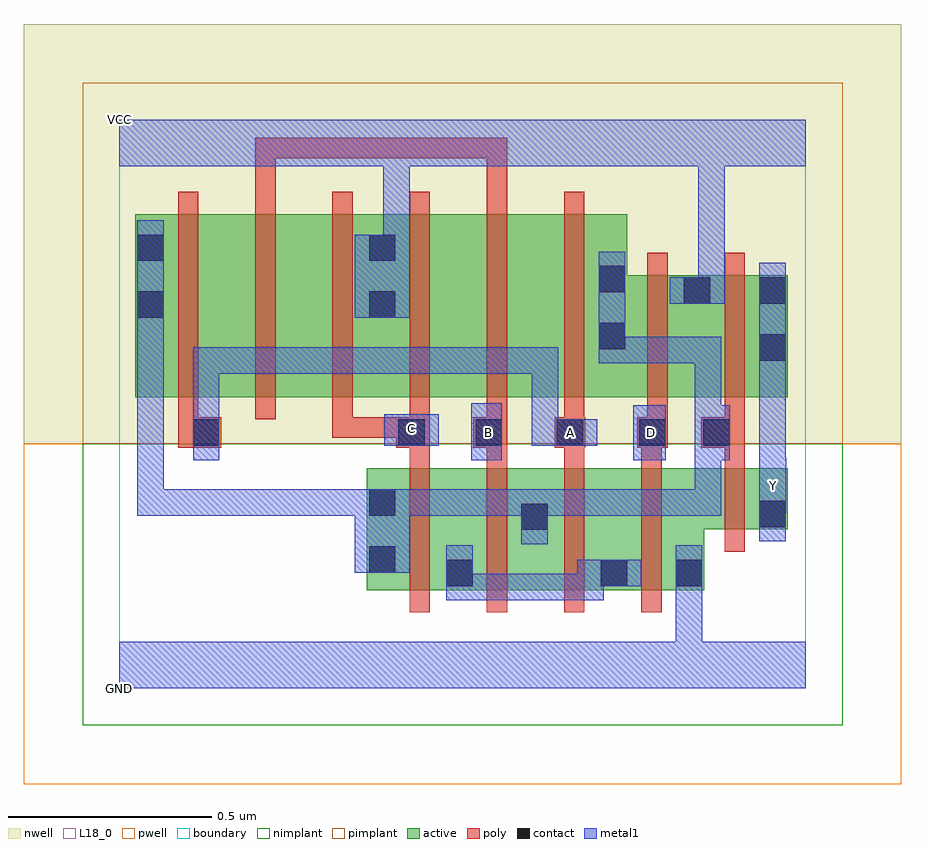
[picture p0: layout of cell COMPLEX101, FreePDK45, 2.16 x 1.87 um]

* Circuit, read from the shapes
.subckt COMPLEX101 A B C D GND VCC Y
M1 n1 C n2 VSUBS nfet w=0.3u l=0.05u
M2 n2 B n1 VSUBS nfet w=0.3u l=0.05u
M3 n1 A n2 VSUBS nfet w=0.3u l=0.05u
M4 GND D n1 VSUBS nfet w=0.3u l=0.05u
M5 Y n2 GND VSUBS nfet w=0.15u l=0.05u
M6 n3 A n2 n4 pfet w=0.45u l=0.05u
M7 n5 B n3 n4 pfet w=0.45u l=0.05u
M8 VCC C n5 n4 pfet w=0.45u l=0.05u
M9 n6 C VCC n4 pfet w=0.45u l=0.05u
M10 n7 B n6 n4 pfet w=0.45u l=0.05u
M11 n2 A n7 n4 pfet w=0.45u l=0.05u
M12 VCC D n2 n4 pfet w=0.3u l=0.05u
M13 Y n2 VCC n4 pfet w=0.3u l=0.05u
.ends

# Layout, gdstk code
import gdstk
lib = gdstk.Library(unit=1e-6, precision=1e-09)
def R(c, l, rs):  # rectangles x0, y0, x1, y1
    for r in rs: c.add(gdstk.rectangle(r[:2], r[2:], *l))
def A(c, l, x, y, w, h, nx, ny, dx, dy):  # array of equal rectangles
    R(c, l, [(x+i*dx, y+j*dy, x+i*dx+w, y+j*dy+h) for i in range(nx) for j in range(ny)])
active = (1, 0)
pwell = (2, 0)
nwell = (3, 0)
nimplant = (4, 0)
pimplant = (5, 0)
poly = (9, 0)
contact = (10, 0)
metal1 = (11, 0)
L18_0 = (18, 0)
boundary = (235, 0)

complex101 = lib.new_cell('COMPLEX101')
R(complex101, active, [(0.61,0.242,0.875,0.542), (0.8,0.242,1.06,0.542), (0.985,0.242,1.255,0.542), (1.18,0.242,1.44,0.542), (1.365,0.242,1.44,0.392), (0.61,0.247,0.685,0.542), (0.8,0.247,0.875,0.392), (0.985,0.247,1.06,0.46), (1.18,0.247,1.255,0.392), (1.365,0.392,1.645,0.542), (1.57,0.392,1.645,0.542), (0.04,0.717,0.265,1.167), (0.04,0.717,0.115,1.165), (0.265,0.717,0.455,1.167), (0.455,0.717,0.685,1.167), (0.61,0.717,0.835,1.167), (0.835,0.717,1.025,1.167), (1.025,0.717,1.25,1.167), (1.175,0.717,1.46,1.017), (1.385,0.717,1.645,1.017), (1.57,0.717,1.645,1.017), (1.385,0.722,1.46,1.017), (0.61,0.732,0.685,1.167), (1.175,0.83,1.25,1.045)])
R(complex101, pwell, [(-0.235,-0.235,1.925,0.602)])
R(complex101, nwell, [(-0.235,0.602,1.925,1.635)])
R(complex101, nimplant, [(-0.09,-0.09,1.78,0.602)])
R(complex101, pimplant, [(-0.09,0.602,1.78,1.49)])
A(complex101, poly, 0.715, 0.187, 0.05, 0.41, 4, 1, 0.19, 0)
A(complex101, poly, 0.715, 0.547, 0.05, 0.095, 4, 1, 0.19, 0)
A(complex101, poly, 0.525, 0.617, 0.05, 0.095, 4, 1, 0.19, 0)
A(complex101, poly, 0.145, 0.662, 0.05, 0.56, 6, 1, 0.19, 0)
R(complex101, poly, [(1.49,0.337,1.54,0.597), (1.49,0.547,1.54,0.642), (0.145,0.592,0.252,0.667), (0.682,0.592,0.765,0.667), (0.872,0.592,0.955,0.667), (1.072,0.592,1.147,0.667), (1.275,0.592,1.35,0.667), (1.432,0.592,1.54,0.667), (0.145,0.617,0.195,0.712), (0.525,0.617,0.575,0.667), (0.525,0.617,0.575,0.667), (0.525,0.617,0.575,0.667), (0.525,0.617,0.732,0.667), (1.3,0.617,1.35,0.712), (1.49,0.617,1.54,0.712), (1.3,0.662,1.35,1.072), (1.49,0.662,1.54,1.072), (0.335,1.172,0.385,1.355), (0.905,1.172,0.955,1.355), (0.335,1.305,0.385,1.355), (0.335,1.305,0.385,1.355), (0.335,1.305,0.385,1.355), (0.335,1.305,0.517,1.355), (0.467,1.305,0.517,1.355), (0.467,1.305,0.517,1.355), (0.467,1.305,0.517,1.355), (0.467,1.305,0.79,1.355), (0.74,1.305,0.79,1.355), (0.74,1.305,0.955,1.355), (0.905,1.305,0.955,1.355), (0.905,1.305,0.955,1.355), (0.905,1.305,0.955,1.355)])
R(complex101, contact, [(0.805,0.252,0.87,0.317), (1.185,0.252,1.25,0.317), (1.37,0.252,1.435,0.317), (0.615,0.285,0.68,0.35), (0.99,0.39,1.055,0.455), (1.575,0.397,1.64,0.462), (0.615,0.425,0.68,0.49), (0.182,0.597,0.247,0.662), (0.687,0.597,0.752,0.662), (0.877,0.597,0.942,0.662), (1.077,0.597,1.142,0.662), (1.28,0.597,1.345,0.662), (1.437,0.597,1.502,0.662), (1.575,0.807,1.64,0.872), (1.18,0.835,1.245,0.9), (0.045,0.912,0.11,0.977), (0.615,0.912,0.68,0.977), (1.39,0.947,1.455,1.012), (1.575,0.947,1.64,1.012), (1.18,0.975,1.245,1.04), (0.045,1.052,0.11,1.117), (0.615,1.052,0.68,1.117)])
R(complex101, metal1, [(0,0,1.69,0.115), (1.37,0.05,1.435,0.282), (0.805,0.217,0.87,0.282), (0.805,0.217,0.87,0.282), (0.805,0.217,0.87,0.352), (0.805,0.217,1.077,0.282), (1.012,0.217,1.077,0.282), (1.012,0.217,1.192,0.282), (1.127,0.217,1.192,0.317), (1.37,0.217,1.435,0.282), (1.37,0.217,1.435,0.282), (1.37,0.217,1.435,0.352), (1.127,0.252,1.215,0.317), (1.15,0.252,1.285,0.317), (0.58,0.285,0.715,0.49), (0.99,0.355,1.055,0.49), (1.575,0.362,1.64,0.497), (0.045,0.425,0.11,0.49), (0.045,0.425,0.11,0.49), (0.045,0.425,0.11,0.49), (0.045,0.425,0.247,0.49), (0.045,0.425,0.11,0.942), (0.182,0.425,0.247,0.49), (0.182,0.425,0.385,0.49), (0.32,0.425,0.385,0.49), (0.32,0.425,0.385,0.49), (0.32,0.425,0.385,0.49), (0.32,0.425,0.522,0.49), (0.457,0.425,0.522,0.49), (0.457,0.425,0.645,0.49), (0.65,0.425,0.715,0.49), (0.65,0.425,0.715,0.49), (0.65,0.425,0.852,0.49), (0.787,0.425,0.852,0.49), (0.787,0.425,0.852,0.49), (0.787,0.425,0.852,0.49), (0.787,0.425,1.055,0.49), (0.99,0.425,1.15,0.49), (1.085,0.425,1.15,0.49), (1.085,0.425,1.282,0.49), (1.217,0.425,1.282,0.49), (1.217,0.425,1.33,0.49), (1.265,0.425,1.33,0.49), (1.265,0.425,1.482,0.49), (1.417,0.425,1.482,0.49), (1.417,0.425,1.482,0.697), (1.575,0.432,1.64,0.497), (1.575,0.432,1.642,0.567), (1.575,0.502,1.64,0.837), (0.182,0.562,0.247,0.697), (0.867,0.562,0.942,0.702), (1.265,0.562,1.345,0.697), (1.437,0.562,1.502,0.697), (0.652,0.597,0.787,0.675), (1.015,0.597,1.08,0.662), (1.015,0.597,1.107,0.662), (1.015,0.597,1.08,0.84), (1.042,0.597,1.177,0.662), (0.182,0.632,0.247,0.697), (0.182,0.632,0.247,0.697), (0.182,0.632,0.247,0.84), (1.417,0.632,1.482,0.697), (1.417,0.632,1.502,0.697), (1.417,0.632,1.482,0.865), (1.575,0.772,1.64,1.047), (0.182,0.775,0.247,0.84), (0.182,0.775,0.385,0.84), (0.32,0.775,0.385,0.84), (0.32,0.775,0.385,0.84), (0.32,0.775,0.385,0.84), (0.32,0.775,0.522,0.84), (0.457,0.775,0.522,0.84), (0.457,0.775,0.66,0.84), (0.595,0.775,0.66,0.84), (0.595,0.775,0.66,0.84), (0.595,0.775,0.66,0.84), (0.595,0.775,0.852,0.84), (0.787,0.775,0.852,0.84), (0.787,0.775,0.852,0.84), (0.787,0.775,0.852,0.84), (0.787,0.775,1.08,0.84), (1.015,0.775,1.08,0.84), (1.18,0.8,1.245,1.075), (1.18,0.8,1.33,0.865), (1.265,0.8,1.33,0.865), (1.265,0.8,1.482,0.865), (1.417,0.8,1.482,0.865), (0.045,0.877,0.11,1.152), (0.045,0.877,0.11,0.942), (0.045,0.877,0.11,0.942), (0.58,0.912,0.715,1.117), (1.355,0.947,1.49,1.012), (1.425,0.947,1.49,1.012), (1.425,0.947,1.49,1.012), (1.425,0.947,1.49,1.012), (1.425,0.947,1.49,1.012), (1.425,0.947,1.49,1.35), (0.65,1.052,0.715,1.117), (0.65,1.052,0.715,1.117), (0.65,1.052,0.715,1.35), (0,1.285,1.69,1.4)])
R(complex101, L18_0, [(0,0,1.69,0.115), (1.37,0.05,1.435,0.282), (1.37,0.217,1.435,0.352), (1.37,0.217,1.435,0.282), (1.37,0.217,1.435,0.282), (1.575,0.362,1.64,0.497), (1.575,0.432,1.64,0.497), (1.575,0.432,1.642,0.567), (1.577,0.467,1.642,0.532), (1.575,0.502,1.64,0.837), (0.182,0.562,0.247,0.697), (0.867,0.562,0.942,0.702), (1.265,0.562,1.345,0.697), (0.652,0.597,0.787,0.675), (0.877,0.597,0.942,0.662), (1.015,0.597,1.08,0.662), (1.015,0.597,1.08,0.84), (1.015,0.597,1.107,0.662), (1.042,0.597,1.177,0.662), (1.077,0.597,1.142,0.662), (1.277,0.597,1.342,0.662), (0.687,0.607,0.752,0.672), (0.182,0.632,0.247,0.697), (0.182,0.632,0.247,0.697), (0.182,0.632,0.247,0.84), (1.575,0.772,1.64,1.047), (0.182,0.775,0.247,0.84), (0.182,0.775,0.385,0.84), (0.32,0.775,0.385,0.84), (0.32,0.775,0.385,0.84), (0.32,0.775,0.385,0.84), (0.32,0.775,0.522,0.84), (0.457,0.775,0.522,0.84), (0.457,0.775,0.66,0.84), (0.595,0.775,0.66,0.84), (0.595,0.775,0.66,0.84), (0.595,0.775,0.66,0.84), (0.595,0.775,0.852,0.84), (0.787,0.775,0.852,0.84), (0.787,0.775,0.852,0.84), (0.787,0.775,0.852,0.84), (0.787,0.775,1.08,0.84), (1.015,0.775,1.08,0.84), (0.58,0.912,0.715,1.117), (1.355,0.947,1.49,1.012), (1.425,0.947,1.49,1.012), (1.425,0.947,1.49,1.012), (1.425,0.947,1.49,1.012), (1.425,0.947,1.49,1.012), (1.425,0.947,1.49,1.35), (0.65,1.052,0.715,1.117), (0.65,1.052,0.715,1.117), (0.65,1.052,0.715,1.35), (0,1.285,1.69,1.4)])
R(complex101, boundary, [(0,0,1.69,1.4)])
complex101.add(gdstk.Label('A', (1.11,0.63), layer=11, texttype=0))
complex101.add(gdstk.Label('B', (0.91,0.63), layer=11, texttype=0))
complex101.add(gdstk.Label('C', (0.72,0.64), layer=11, texttype=0))
complex101.add(gdstk.Label('D', (1.31,0.63), layer=11, texttype=0))
complex101.add(gdstk.Label('Y', (1.61,0.5), layer=11, texttype=0))
complex101.add(gdstk.Label('VCC', (0,1.4), layer=11, texttype=0))
complex101.add(gdstk.Label('GND', (0,0), layer=11, texttype=0))

lib.write_gds('COMPLEX101.gds')
